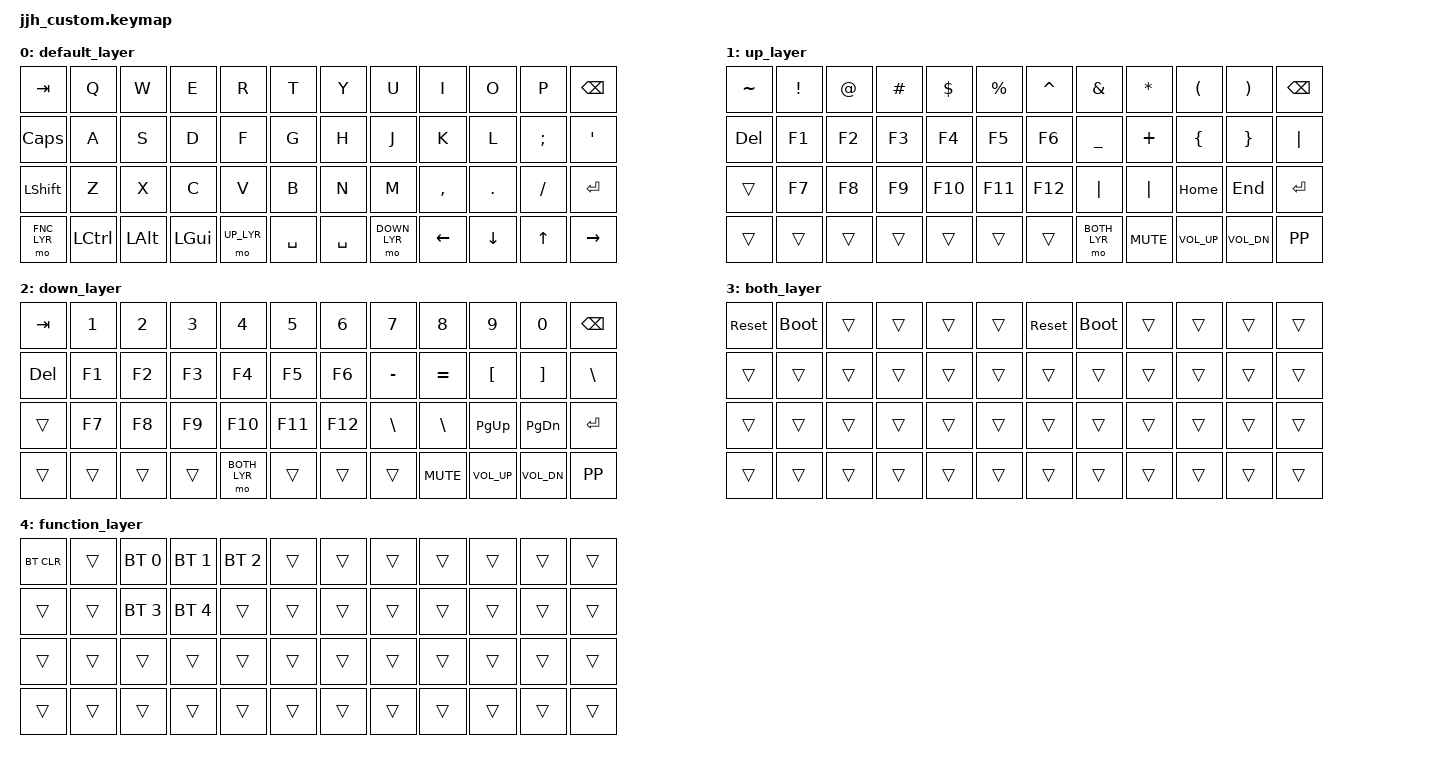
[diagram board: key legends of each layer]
/*
 * Copyright (c) 2023 The ZMK Contributors
 *
 * SPDX-License-Identifier: MIT
 */

#include <behaviors.dtsi>
#include <dt-bindings/zmk/keys.h>
#include <dt-bindings/zmk/bt.h>

#define DEFAULT_LYR 0
#define UP_LYR  1
#define DOWN_LYR    2
#define BOTH_LYR    3
#define FNC_LYR 4

/ {
    keymap {
        compatible = "zmk,keymap";

        default_layer {
            // -------------------------------------------------------------       -------------------------------------------------------------
            // |   TAB   |    Q    |    W    |    E    |    R    |    T    |       |    Y    |    U    |    I    |    O    |    P    |  BACK   |
            // |   CAPL  |    A    |    S    |    D    |    F    |    G    |       |    H    |    J    |    K    |    L    |    ;    |    '    |
            // |  SHIFT  |    Z    |    X    |    C    |    V    |    B    |       |    N    |    M    |    ,    |    .    |    /    |  ENTER  |
            // |   FN    |   CTRL  |   OPT   |  L CMD  | UP_LAYER|  SPACE  |       |  SPACE  | DN_LAYER|   LEFT  |   DOWN  |    UP   |  RIGHT  |
            // -------------------------------------------------------------       -------------------------------------------------------------

            bindings = <
            &kp TAB     &kp Q      &kp W    &kp E    &kp R      &kp T        &kp Y      &kp U        &kp I     &kp O    &kp P     &kp BSPC
            &kp CAPS    &kp A      &kp S    &kp D    &kp F      &kp G        &kp H      &kp J        &kp K     &kp L    &kp SEMI  &kp SQT
            &kp LSHFT   &kp Z      &kp X    &kp C    &kp V      &kp B        &kp N      &kp M        &kp COMMA &kp DOT  &kp SLASH &kp ENTER
            &mo FNC_LYR &kp LCTRL  &kp LALT &kp LGUI &mo UP_LYR &kp SPACE    &kp SPACE  &mo DOWN_LYR &kp LEFT  &kp DOWN &kp UP    &kp RIGHT
            >;
        };

        up_layer {
            // -------------------------------------------------------------       -------------------------------------------------------------
            // |    ~    |    !    |    @    |    #    |    $    |    %    |       |    ^    |    &    |    *    |    (    |    )    |  BACK   |
            // |   DEL   |   F1    |   F2    |   F3    |   F4    |   F5    |       |   F6    |    _    |    +    |    {    |    }    |    |    |
            // |         |   F7    |   F8    |   F9    |   F10   |   F11   |       |   F12   |    |    |    |    |   HOME  |   END   |  ENTER  |
            // |         |         |         |         |         |         |       |         |BOTH_LAYR|  MUTE   |   VOL-  |  VOL+   |  PLAY   |
            // -------------------------------------------------------------       -------------------------------------------------------------

            bindings = <
            &kp TILDE &kp EXCL &kp AT &kp HASH &kp DOLLAR &kp PRCNT    &kp CARET &kp AMPERSAND &kp ASTRK  &kp LPAR     &kp RPAR     &kp BSPC
            &kp DEL   &kp F1   &kp F2 &kp F3   &kp F4     &kp F5       &kp F6    &kp UNDER     &kp PLUS   &kp LBRC     &kp RBRC     &kp PIPE
            &trans    &kp F7   &kp F8 &kp F9   &kp F10    &kp F11      &kp F12   &kp PIPE      &kp PIPE   &kp HOME     &kp END      &kp ENTER
            &trans    &trans   &trans &trans   &trans     &trans       &trans    &mo BOTH_LYR  &kp K_MUTE &kp K_VOL_UP &kp K_VOL_DN &kp K_PP
            >;
        };

        down_layer {
            // -------------------------------------------------------------       -------------------------------------------------------------
            // |    `    |    1    |    2    |    3    |    4    |    5    |       |    6    |    7    |    8    |    9    |    0    |  BACK   |
            // |   DEL   |   F1    |   F2    |   F3    |   F4    |   F5    |       |   F6    |    -    |    =    |    [    |    ]    |    \    |
            // |         |   F7    |   F8    |   F9    |   F10   |   F11   |       |   F12   |    \    |    \    |   PGUP  |   PGDN  |  ENTER  |
            // |         |         |         |         |BOTH_LAYR|         |       |         |         |  MUTE   |   VOL-  |  VOL+   |  PLAY   |
            // -------------------------------------------------------------       -------------------------------------------------------------

            bindings = <
            &kp TAB &kp N1 &kp N2 &kp N3 &kp N4       &kp N5     &kp N6  &kp N7    &kp N8     &kp N9       &kp N0       &kp BSPC
            &kp DEL &kp F1 &kp F2 &kp F3 &kp F4       &kp F5     &kp F6  &kp MINUS &kp EQUAL  &kp LBKT     &kp RBKT     &kp BSLH
            &trans  &kp F7 &kp F8 &kp F9 &kp F10      &kp F11    &kp F12 &kp BSLH  &kp BSLH   &kp PG_UP    &kp PG_DN    &kp ENTER
            &trans  &trans &trans &trans &mo BOTH_LYR &trans     &trans  &trans    &kp K_MUTE &kp K_VOL_UP &kp K_VOL_DN &kp K_PP
            >;
        };

        both_layer {
            // -------------------------------------------------------------       -------------------------------------------------------------
            // |  RESET  |  FLASH  |         |         |         |         |       |  RESET  |  FLASH  |         |         |         |   DEL   |
            // |         |         |         |         |         |         |       |         |         |         |         |         |         |
            // |         |         |         |         |         |         |       |         |         |         |         |         |         |
            // |         |         |         |         |         |         |       |         |         |         |         |         |         |
            // -------------------------------------------------------------       -------------------------------------------------------------

            bindings = <
            &sys_reset &bootloader &trans &trans &trans &trans    &sys_reset &bootloader &trans &trans &trans &trans
            &trans     &trans      &trans &trans &trans &trans    &trans     &trans      &trans &trans &trans &trans
            &trans     &trans      &trans &trans &trans &trans    &trans     &trans      &trans &trans &trans &trans
            &trans     &trans      &trans &trans &trans &trans    &trans     &trans      &trans &trans &trans &trans
            >;
        };

        function_layer {
            // -------------------------------------------------------------       -------------------------------------------------------------
            // |  BT_CLR |         |  BT_0   |  BT_1   |  BT_2   |         |       |         |         |         |         |         |         |
            // |         |         |  BT_3   |  BT_4   |         |         |       |         |         |         |         |         |         |
            // |         |         |         |         |         |         |       |         |         |         |         |         |         |
            // |         |         |         |         |         |         |       |         |         |         |         |         |         |
            // -------------------------------------------------------------       -------------------------------------------------------------

            bindings = <
            &bt BT_CLR &trans &bt BT_SEL 0 &bt BT_SEL 1 &bt BT_SEL 2 &trans    &trans &trans &trans &trans &trans &trans
            &trans     &trans &bt BT_SEL 3 &bt BT_SEL 4 &trans       &trans    &trans &trans &trans &trans &trans &trans
            &trans     &trans &trans       &trans       &trans       &trans    &trans &trans &trans &trans &trans &trans
            &trans     &trans &trans       &trans       &trans       &trans    &trans &trans &trans &trans &trans &trans
            >;
        };
    };
};
